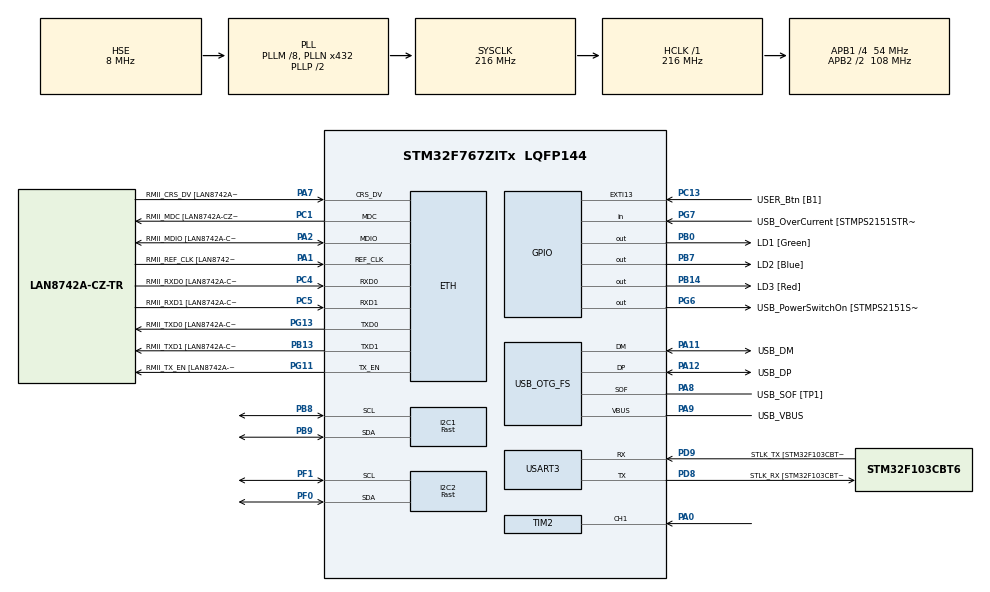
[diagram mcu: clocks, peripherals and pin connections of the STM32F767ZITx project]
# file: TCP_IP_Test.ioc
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CORTEX_M7.CPU_DCache=Disabled
CORTEX_M7.CPU_ICache=Disabled
CORTEX_M7.FlashInterface=TCM_Enabled
CORTEX_M7.default_mode_Activation=1
ETH.MediaInterface=HAL_ETH_RMII_MODE
ETH.PHY_Name=LAN8742A_PHY_ADDRESS
ETH.PHY_Value=0
ETH.PhyAddress=0
I2C1.I2C_Speed_Mode=I2C_Fast
I2C1.Timing=0x6000030D
I2C2.I2C_Speed_Mode=I2C_Fast
I2C2.Timing=0x6000030D
LWIP.BSP.number=1
LWIP.GATEWAY_ADDRESS=192.168.000.001
LWIP.IP_ADDRESS=192.168.000.120
LWIP.LWIP_DHCP=0
LWIP.MEM_SIZE=5 * 1024
LWIP.NETMASK_ADDRESS=255.255.255.000
LWIP.Version=v2.1.2_Cube
LWIP0.BSP.STBoard=false
LWIP0.BSP.api=BSP_COMPONENT_DRIVER
LWIP0.BSP.component=LAN8742
LWIP0.BSP.instance=LAN8742
LWIP0.BSP.name=Driver_PHY
LWIP0.BSP.semaphore=S_LAN8742
LWIP0.BSP.solution=LAN8742
Mcu.Family=STM32F7
Mcu.Name=STM32F767ZITx
Mcu.Package=LQFP144
NVIC.PriorityGroup=NVIC_PRIORITYGROUP_4
PA0/WKUP.Signal=S_TIM2_CH1_ETR
PA1.GPIO_Label=RMII_REF_CLK [LAN8742A-CZ-TR_REFCLK0]
PA1.Mode=RMII
PA1.Signal=ETH_REF_CLK
PA10.GPIO_Label=USB_ID
PA10.Signal=USB_OTG_FS_ID
PA11.GPIO_Label=USB_DM
PA11.Mode=Device_Only
PA11.Signal=USB_OTG_FS_DM
PA12.GPIO_Label=USB_DP
PA12.Mode=Device_Only
PA12.Signal=USB_OTG_FS_DP
PA13.GPIO_Label=TMS
PA13.Mode=Serial_Wire
PA13.Signal=SYS_JTMS-SWDIO
PA14.GPIO_Label=TCK
PA14.Mode=Serial_Wire
PA14.Signal=SYS_JTCK-SWCLK
PA2.GPIO_Label=RMII_MDIO [LAN8742A-CZ-TR_MDIO]
PA2.Mode=RMII
PA2.Signal=ETH_MDIO
PA7.GPIO_Label=RMII_CRS_DV [LAN8742A-CZ-TR_CRS_DV]
PA7.Mode=RMII
PA7.Signal=ETH_CRS_DV
PA8.GPIO_Label=USB_SOF [TP1]
PA8.Mode=Activate_SOF_FS
PA8.Signal=USB_OTG_FS_SOF
PA9.GPIO_Label=USB_VBUS
PA9.Mode=Activate_VBUS
PA9.Signal=USB_OTG_FS_VBUS
PB0.GPIO_Label=LD1 [Green]
PB0.Signal=GPIO_Output
PB13.GPIO_Label=RMII_TXD1 [LAN8742A-CZ-TR_TXD1]
PB13.Mode=RMII
PB13.Signal=ETH_TXD1
PB14.GPIO_Label=LD3 [Red]
PB14.Signal=GPIO_Output
PB3.GPIO_Label=SWO
PB3.Signal=SYS_JTDO-SWO
PB7.GPIO_Label=LD2 [Blue]
PB7.Signal=GPIO_Output
PB8.Mode=I2C
PB8.Signal=I2C1_SCL
PB9.Mode=I2C
PB9.Signal=I2C1_SDA
PC1.GPIO_Label=RMII_MDC [LAN8742A-CZ-TR_MDC]
PC1.Mode=RMII
PC1.Signal=ETH_MDC
PC13.GPIO_Label=USER_Btn [B1]
PC13.Signal=GPXTI13
PC14/OSC32_IN.Mode=LSE-External-Oscillator
PC14/OSC32_IN.Signal=RCC_OSC32_IN
PC15/OSC32_OUT.Mode=LSE-External-Oscillator
PC15/OSC32_OUT.Signal=RCC_OSC32_OUT
PC4.GPIO_Label=RMII_RXD0 [LAN8742A-CZ-TR_RXD0]
PC4.Mode=RMII
PC4.Signal=ETH_RXD0
PC5.GPIO_Label=RMII_RXD1 [LAN8742A-CZ-TR_RXD1]
PC5.Mode=RMII
PC5.Signal=ETH_RXD1
PD8.GPIO_Label=STLK_RX [STM32F103CBT6_PA3]
PD8.Mode=Asynchronous
PD8.Signal=USART3_TX
PD9.GPIO_Label=STLK_TX [STM32F103CBT6_PA2]
PD9.Mode=Asynchronous
PD9.Signal=USART3_RX
PF0.Mode=I2C
PF0.Signal=I2C2_SDA
PF1.Mode=I2C
PF1.Signal=I2C2_SCL
PG11.GPIO_Label=RMII_TX_EN [LAN8742A-CZ-TR_TXEN]
PG11.Mode=RMII
PG11.Signal=ETH_TX_EN
PG13.GPIO_Label=RMII_TXD0 [LAN8742A-CZ-TR_TXD0]
PG13.Mode=RMII
PG13.Signal=ETH_TXD0
PG6.GPIO_Label=USB_PowerSwitchOn [STMPS2151STR_EN]
PG6.Signal=GPIO_Output
PG7.GPIO_Label=USB_OverCurrent [STMPS2151STR_FAULT]
PG7.Signal=GPIO_Input
PH0/OSC_IN.GPIO_Label=MCO [STM32F103CBT6_PA8]
PH0/OSC_IN.Mode=HSE-External-Clock-Source
PH0/OSC_IN.Signal=RCC_OSC_IN
PH1/OSC_OUT.Mode=HSE-External-Clock-Source
PH1/OSC_OUT.Signal=RCC_OSC_OUT
ProjectManager.HeapSize=0x200
ProjectManager.StackSize=0x400
ProjectManager.TargetToolchain=STM32CubeIDE
RCC.48MHZClocksFreq_Value=24000000
RCC.AHBFreq_Value=216000000
RCC.APB1CLKDivider=RCC_HCLK_DIV4
RCC.APB1Freq_Value=54000000
RCC.APB1TimFreq_Value=108000000
RCC.APB2CLKDivider=RCC_HCLK_DIV2
RCC.APB2Freq_Value=108000000
RCC.APB2TimFreq_Value=216000000
RCC.CortexFreq_Value=216000000
RCC.HCLKFreq_Value=216000000
RCC.HSE_VALUE=8000000
RCC.HSI_VALUE=16000000
RCC.PLLM=8
RCC.PLLMUL=RCC_PLL_MUL9
RCC.PLLN=432
RCC.PLLQ=9
RCC.PRESCALERUSB=RCC_USBCLKSOURCE_PLL_DIV1_5
RCC.SYSCLKFreq_VALUE=216000000
RCC.SYSCLKSource=RCC_SYSCLKSOURCE_PLLCLK
RCC.SYSCLKSourceVirtual=RCC_SYSCLKSOURCE_PLLCLK
RCC.USBFreq_Value=48000000
RCC.VCOOutputFreq_Value=432000000
SH.S_TIM2_CH1_ETR.0=TIM2_CH1,PWM_Input_1
USART3.VirtualMode-Asynchronous=VM_ASYNC
USB_OTG_FS.VirtualMode=Device_Only
VP_LWIP_VS_Enabled.Mode=Enabled
board=NUCLEO-F767ZI

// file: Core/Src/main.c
/* USER CODE BEGIN Header */
/**
  ******************************************************************************
  * @file           : main.c
  * @brief          : Main program body
  ******************************************************************************
  * @attention
  *
  * Copyright (c) 2025 STMicroelectronics.
  * All rights reserved.
  *
  * This software is licensed under terms that can be found in the LICENSE file
  * in the root directory of this software component.
  * If no LICENSE file comes with this software, it is provided AS-IS.
  *
  ******************************************************************************
  */
/* USER CODE END Header */
#include "main.h"
#include "i2c.h"
#include "lwip.h"
#include "tim.h"
#include "usart.h"
#include "usb_otg.h"
#include "gpio.h"

/* USER CODE BEGIN Includes */
#include "tcpClientRAW.h"
#include "ControlerConfig.h"
#include "u8g2_porting.h"
#include "Display.h"
#include "AS5600Driver.h"

/* USER CODE END Includes */

/* USER CODE BEGIN PV */
extern struct netif gnetif;
uint32_t lastMillis = 0;
sControlConfig ControlConfig = {0};

AS5600Handle_Typedef *Encoder1;

/* USER CODE END PV */

void SystemClock_Config(void);
static void MPU_Config(void);

int main(void)
{

  /* MPU Configuration--------------------------------------------------------*/
  MPU_Config();

  /* MCU Configuration--------------------------------------------------------*/

  /* Reset of all peripherals, Initializes the Flash interface and the Systick. */
  HAL_Init();

  /* Configure the system clock */
  SystemClock_Config();

  /* Initialize all configured peripherals */
  MX_GPIO_Init();
  MX_USART3_UART_Init();
  MX_USB_OTG_FS_PCD_Init();
  MX_LWIP_Init();
  MX_I2C1_Init();
  MX_TIM2_Init();
  MX_I2C2_Init();
  /* USER CODE BEGIN 2 */
  initTcpClient(192, 168, 0, 108, 2333);

	initDisplay(&InfoDisplay, U8G2_R0, u8g2_font_04b_03_tr);

	Encoder1 = AS5600_Create(0x36,
								360.0f,
								0.0f);

	AS5600_AttachPeripheral(Encoder1,
							&hi2c2,
							&htim2);
	if (Encoder1 == NULL)
	{
		while (1);
	}

	AS5600_Configure(Encoder1,
						NOM,
						OFF,
						PWM,
						_115Hz,
						_16x,
						SlowFilterOnly,
						Off);

	AS5600_ReadRawAngle_I2C(Encoder1);

	AS5600_UpdateStatus(Encoder1);
  /* USER CODE END 2 */

  /* Infinite loop */
  /* USER CODE BEGIN WHILE */
  while (1)
  {
	  ethernetif_input(&gnetif);
	  sys_check_timeouts();

	  if ((HAL_GetTick() - lastMillis) > 1000 )
	  {
		  AS5600_ReadAngle_PWM(Encoder1);
		  AS5600_UpdateAbsolutePosition(Encoder1);

		  updateDisplay(&InfoDisplay, Main);
		  lastMillis = HAL_GetTick();
	  }

    /* USER CODE END WHILE */

  }
}

void SystemClock_Config(void)
{
  RCC_OscInitTypeDef RCC_OscInitStruct = {0};
  RCC_ClkInitTypeDef RCC_ClkInitStruct = {0};

  /** Configure LSE Drive Capability
  */
  HAL_PWR_EnableBkUpAccess();

  /** Configure the main internal regulator output voltage
  */
  __HAL_RCC_PWR_CLK_ENABLE();
  __HAL_PWR_VOLTAGESCALING_CONFIG(PWR_REGULATOR_VOLTAGE_SCALE1);

  /** Initializes the RCC Oscillators according to the specified parameters
  * in the RCC_OscInitTypeDef structure.
  */
  RCC_OscInitStruct.OscillatorType = RCC_OSCILLATORTYPE_HSE;
  RCC_OscInitStruct.HSEState = RCC_HSE_BYPASS;
  RCC_OscInitStruct.PLL.PLLState = RCC_PLL_ON;
  RCC_OscInitStruct.PLL.PLLSource = RCC_PLLSOURCE_HSE;
  RCC_OscInitStruct.PLL.PLLM = 8;
  RCC_OscInitStruct.PLL.PLLN = 432;
  RCC_OscInitStruct.PLL.PLLP = RCC_PLLP_DIV2;
  RCC_OscInitStruct.PLL.PLLQ = 9;
  RCC_OscInitStruct.PLL.PLLR = 2;
  if (HAL_RCC_OscConfig(&RCC_OscInitStruct) != HAL_OK)
  {
    Error_Handler();
  }

  /** Activate the Over-Drive mode
  */
  if (HAL_PWREx_EnableOverDrive() != HAL_OK)
  {
    Error_Handler();
  }

  /** Initializes the CPU, AHB and APB buses clocks
  */
  RCC_ClkInitStruct.ClockType = RCC_CLOCKTYPE_HCLK|RCC_CLOCKTYPE_SYSCLK
                              |RCC_CLOCKTYPE_PCLK1|RCC_CLOCKTYPE_PCLK2;
  RCC_ClkInitStruct.SYSCLKSource = RCC_SYSCLKSOURCE_PLLCLK;
  RCC_ClkInitStruct.AHBCLKDivider = RCC_SYSCLK_DIV1;
  RCC_ClkInitStruct.APB1CLKDivider = RCC_HCLK_DIV4;
  RCC_ClkInitStruct.APB2CLKDivider = RCC_HCLK_DIV2;

  if (HAL_RCC_ClockConfig(&RCC_ClkInitStruct, FLASH_LATENCY_7) != HAL_OK)
  {
    Error_Handler();
  }
}

 /* MPU Configuration */

void MPU_Config(void)
{
  MPU_Region_InitTypeDef MPU_InitStruct = {0};

  /* Disables the MPU */
  HAL_MPU_Disable();

  /** Initializes and configures the Region and the memory to be protected
  */
  MPU_InitStruct.Enable = MPU_REGION_ENABLE;
  MPU_InitStruct.Number = MPU_REGION_NUMBER0;
  MPU_InitStruct.BaseAddress = 0x0;
  MPU_InitStruct.Size = MPU_REGION_SIZE_4GB;
  MPU_InitStruct.SubRegionDisable = 0x87;
  MPU_InitStruct.TypeExtField = MPU_TEX_LEVEL0;
  MPU_InitStruct.AccessPermission = MPU_REGION_NO_ACCESS;
  MPU_InitStruct.DisableExec = MPU_INSTRUCTION_ACCESS_DISABLE;
  MPU_InitStruct.IsShareable = MPU_ACCESS_SHAREABLE;
  MPU_InitStruct.IsCacheable = MPU_ACCESS_NOT_CACHEABLE;
  MPU_InitStruct.IsBufferable = MPU_ACCESS_NOT_BUFFERABLE;

  HAL_MPU_ConfigRegion(&MPU_InitStruct);
  /* Enables the MPU */
  HAL_MPU_Enable(MPU_PRIVILEGED_DEFAULT);

}

void Error_Handler(void)
{
  __disable_irq();
  while (1)
  {
  }
}
